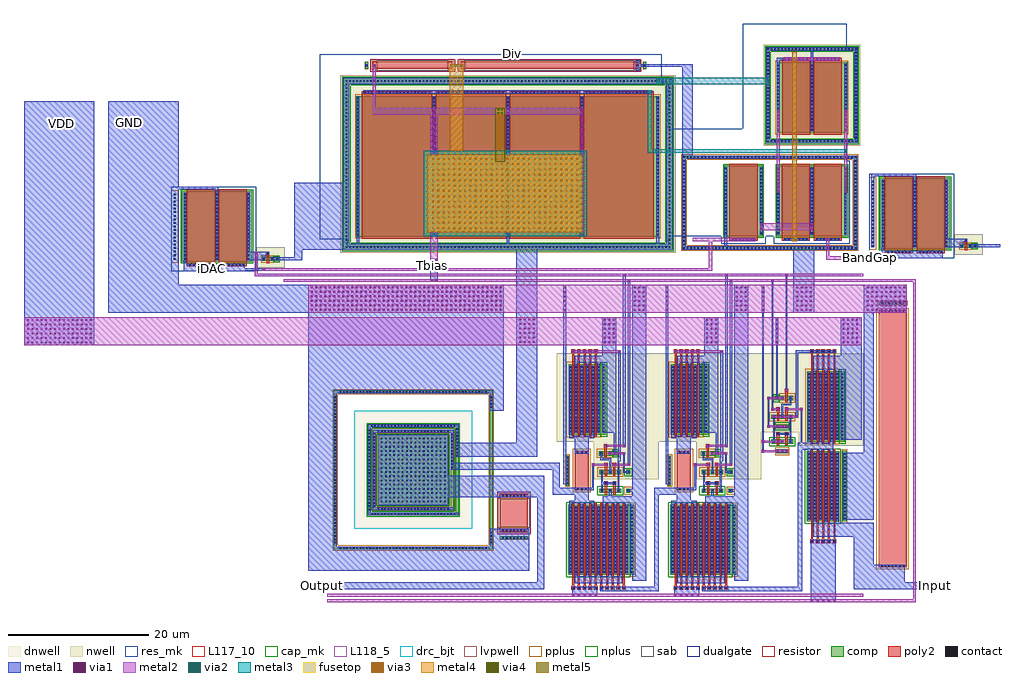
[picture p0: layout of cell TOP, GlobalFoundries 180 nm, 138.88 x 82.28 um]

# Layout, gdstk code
from math import pi, radians
import gdstk
lib = gdstk.Library(unit=1e-6, precision=1e-09)
def R(c, l, rs):  # rectangles x0, y0, x1, y1
    for r in rs: c.add(gdstk.rectangle(r[:2], r[2:], *l))
def A(c, l, x, y, w, h, nx, ny, dx, dy):  # array of equal rectangles
    R(c, l, [(x+i*dx, y+j*dy, x+i*dx+w, y+j*dy+h) for i in range(nx) for j in range(ny)])
def P(c, l, *ps):  # polygons
    for p in ps: c.add(gdstk.Polygon(p, *l))
dnwell = (12, 0)
nwell = (21, 0)
comp = (22, 0)
poly2 = (30, 0)
pplus = (31, 0)
nplus = (32, 0)
contact = (33, 0)
metal1 = (34, 0)
via1 = (35, 0)
metal2 = (36, 0)
via2 = (38, 0)
via3 = (40, 0)
via4 = (41, 0)
metal3 = (42, 0)
metal4 = (46, 0)
sab = (49, 0)
dualgate = (55, 0)
resistor = (62, 0)
fusetop = (75, 0)
metal5 = (81, 0)
res_mk = (110, 5)
cap_mk = (117, 5)
L117_10 = (117, 10)
L118_5 = (118, 5)
drc_bjt = (127, 5)
lvpwell = (204, 0)

ppolyf_s_resistor = lib.new_cell('ppolyf_s_resistor')
R(ppolyf_s_resistor, comp, [(-1.51,0,-1.15,4)])
R(ppolyf_s_resistor, poly2, [(-0.29,0,36.29,4)])
R(ppolyf_s_resistor, pplus, [(-0.59,-0.3,36.59,4.3), (-1.67,-0.16,-0.99,4.16)])
A(ppolyf_s_resistor, contact, -1.44, 0.36, 0.22, 0.22, 1, 7, 0, 0.51)
A(ppolyf_s_resistor, contact, -0.22, 0.36, 0.22, 0.22, 1, 7, 0, 0.51)
A(ppolyf_s_resistor, contact, 36, 0.36, 0.22, 0.22, 1, 7, 0, 0.51)
R(ppolyf_s_resistor, metal1, [(-1.52,0.28,-1.14,3.72), (-0.3,0.28,0.08,3.72), (35.92,0.28,36.3,3.72)])
R(ppolyf_s_resistor, res_mk, [(0,0,36,4)])

inputbuffer = lib.new_cell('InputBuffer')
R(inputbuffer, nwell, [(-16.13,7.7,-6.96,9.67), (-21.5,9.67,-6.96,20.87)])
R(inputbuffer, comp, [(-14.99,-3.04,-10.36,6.96), (-9.94,-3.04,-9.31,7), (-19.32,6.63,-17.62,7.23), (-20.02,8.01,-16.92,8.61), (-14.92,8.32,-9.62,18.32), (-19.32,10.18,-17.62,10.78), (-20.02,11.56,-16.92,12.16), (-19.53,14.21,-16.93,14.81)])
A(inputbuffer, poly2, -14.52, -6.14, 0.54, 0.54, 5, 2, 0.8, 27.02)
A(inputbuffer, poly2, -14.39, -5.6, 0.28, 12.87, 5, 2, 0.8, 13.61)
R(inputbuffer, poly2, [(-19.24,7.76,-18.94,9.1), (-18.03,7.76,-17.73,9.1), (-19.35,9.1,-18.81,9.64), (-18.14,9.1,-17.6,9.64), (-19.23,11.31,-18.93,12.65), (-18.03,11.31,-17.73,12.65), (-19.35,12.65,-18.81,13.19), (-18.15,12.65,-17.61,13.19), (-18.03,13.96,-17.73,15.3), (-18.14,15.3,-17.6,15.84)])
R(inputbuffer, pplus, [(-10.02,-3.31,-9.22,7.23), (-19.47,6.36,-17.47,7.5), (-15.24,7.94,-10.34,18.69), (-20.32,11.21,-16.62,12.51), (-18.93,13.86,-16.63,15.16)])
R(inputbuffer, nplus, [(-15.29,-3.39,-10.18,7.31), (-20.32,7.66,-16.62,8.96), (-10.34,8.005,-9.46,18.615), (-19.47,9.91,-17.47,11.05), (-19.73,13.94,-18.93,15.08)])
A(inputbuffer, contact, -14.36, -5.98, 0.22, 0.22, 5, 2, 0.8, 27.02)
A(inputbuffer, contact, -14.76, -2.74, 0.22, 0.22, 6, 19, 0.8, 0.51)
A(inputbuffer, contact, -9.7, -2.74, 0.22, 0.22, 1, 19, 0, 0.51)
A(inputbuffer, contact, -19.2, 6.82, 0.22, 0.22, 3, 2, 0.62, 3.55)
A(inputbuffer, contact, -14.76, 8.62, 0.22, 0.22, 6, 19, 0.8, 0.51)
A(inputbuffer, contact, -10.06, 8.62, 0.22, 0.22, 1, 19, 0, 0.51)
R(inputbuffer, contact, [(-19.77,8.2,-19.55,8.42), (-18.59,8.2,-18.37,8.42), (-17.4,8.2,-17.18,8.42), (-19.19,9.26,-18.97,9.48), (-17.98,9.26,-17.76,9.48), (-19.77,11.75,-19.55,11.97), (-18.59,11.75,-18.37,11.97), (-17.4,11.75,-17.18,11.97), (-19.19,12.81,-18.97,13.03), (-17.99,12.81,-17.77,13.03), (-19.34,14.4,-19.12,14.62), (-18.59,14.4,-18.37,14.62), (-17.4,14.4,-17.18,14.62), (-17.98,15.46,-17.76,15.68)])
A(inputbuffer, metal1, -14.44, -6.06, 0.38, 0.38, 5, 2, 0.8, 27.02)
A(inputbuffer, metal1, -14.04, -3.22, 0.38, 0.4, 3, 2, 1.6, 21.32)
A(inputbuffer, metal1, -14.84, -2.82, 0.38, 9.56, 6, 2, 0.8, 11.36)
A(inputbuffer, metal1, -19.28, 6.74, 0.38, 0.38, 3, 2, 0.62, 3.55)
A(inputbuffer, metal1, -14.84, 6.74, 0.38, 0.4, 3, 2, 1.6, 1.4)
R(inputbuffer, metal1, [(-14.44,-14.53,-10.86,-5.68), (-8.29,-12.7,-5.46,-3.22), (-8.29,-12.7,-1.06,-9.21), (-1.06,-12.7,4.54,-11.7), (-14.44,-6.06,-10.86,-5.68), (-14.04,-5.22,-5.46,-3.22), (-9.78,-2.82,-5.46,6.74), (-9.78,-2.82,-9.4,6.74), (-6.86,-2.82,-5.46,30.63), (-21.4,6.75,-21.02,7.13), (-21.33,6.8,-21.09,30.63), (-15.87,7.14,-15.63,13.04), (-15.87,7.14,-11.26,8.14), (-14.84,7.14,-11.26,8.14), (-21.4,8.12,-21.02,8.5), (-19.85,8.12,-19.47,8.5), (-18.67,8.12,-18.29,8.5), (-17.48,8.12,-17.1,8.5), (-19.78,8.19,-19.54,11.98), (-17.41,8.19,-17.17,11.98), (-10.14,8.54,-9.76,18.1), (-10.14,8.54,-7.14,26.03), (-19.27,9.18,-18.89,9.56), (-18.06,9.18,-17.68,9.56), (-19.2,9.25,-17.17,9.49), (-20.62,10.29,-20.24,10.67), (-20.55,10.34,-20.31,14.63), (-19.85,11.67,-19.47,12.05), (-18.67,11.67,-18.29,12.05), (-17.48,11.67,-17.1,12.05), (-16.59,11.67,-16.21,21.34), (-18.6,11.74,-18.36,13.71), (-20.04,12.73,-19.66,13.11), (-19.97,12.73,-19.73,31.41), (-19.27,12.73,-18.89,13.11), (-18.07,12.73,-17.69,13.11), (-15.94,12.73,-15.56,13.11), (-18.6,13.47,-17.17,13.71), (-17.41,13.47,-17.17,14.63), (-20.62,14.32,-20.24,14.7), (-19.42,14.32,-19.04,14.7), (-19.35,14.32,-19.11,26.03), (-18.67,14.32,-18.29,14.7), (-17.48,14.32,-17.1,14.7), (-18.06,15.38,-17.68,15.76), (-17.99,15.38,-17.75,32.19), (-14.04,18.5,-8.14,20.5), (-21.33,18.92,-21.09,30.63), (-16.59,20.96,-10.86,21.34), (-14.44,20.96,-10.86,21.34), (-19.42,22.03,-19.04,26.03), (-21.4,26.63,-21.02,30.63), (-6.86,26.63,-0.78,30.63), (-20.04,31.03,-19.66,31.41), (-18.06,31.81,-17.68,32.19)])
P(inputbuffer, metal1, [(-18.6,11.73),(-18.6,11.73),(-18.6,11.73),(-18.6,11.73)])
A(inputbuffer, via1, -14.38, -14.47, 0.26, 0.26, 5, 1, 0.8, 0)
A(inputbuffer, via1, -19.22, 6.8, 0.26, 0.26, 3, 2, 0.62, 3.55)
A(inputbuffer, via1, -19.36, 22.3, 0.26, 0.26, 1, 6, 0, 0.64)
A(inputbuffer, via1, -9.91, 22.3, 0.26, 0.26, 3, 6, 0.64, 0.64)
A(inputbuffer, via1, -7.98, 22.3, 0.26, 0.26, 1, 6, 0, 0.64)
A(inputbuffer, via1, -21.34, 26.9, 0.26, 0.26, 1, 6, 0, 0.64)
A(inputbuffer, via1, -6.46, 26.9, 0.26, 0.26, 3, 6, 0.64, 0.64)
A(inputbuffer, via1, -4.46, 26.9, 0.26, 0.26, 3, 6, 0.64, 0.64)
A(inputbuffer, via1, -2.55, 26.9, 0.26, 0.26, 3, 6, 0.64, 0.64)
R(inputbuffer, via1, [(-21.34,6.81,-21.08,7.07), (-21.34,8.18,-21.08,8.44), (-18.61,8.18,-18.35,8.44), (-20.56,10.35,-20.3,10.61), (-19.79,11.73,-19.53,11.99), (-16.53,11.73,-16.27,11.99), (-19.98,12.79,-19.72,13.05), (-19.21,12.79,-18.95,13.05), (-18.01,12.79,-17.75,13.05), (-15.88,12.79,-15.62,13.05), (-20.56,14.38,-20.3,14.64), (-19.36,14.38,-19.1,14.64), (-18.61,14.38,-18.35,14.64), (-18,15.44,-17.74,15.7), (-19.98,31.09,-19.72,31.35), (-18,31.87,-17.74,32.13)])
A(inputbuffer, metal2, -19.28, 6.74, 0.38, 0.38, 3, 2, 0.62, 3.55)
R(inputbuffer, metal2, [(-21.5,-14.53,-6.96,-14.15), (-21.5,-13.75,-6.96,-13.37), (-19.28,6.74,-17.66,7.12), (-21.4,6.75,-21.02,7.13), (-21.35,6.79,-17.71,7.07), (-21.4,8.12,-21.02,8.5), (-18.67,8.12,-18.29,8.5), (-21.35,8.17,-18.34,8.45), (-20.62,10.29,-20.24,10.67), (-19.28,10.29,-17.66,10.67), (-20.55,10.34,-17.71,10.62), (-19.85,11.67,-19.47,12.05), (-16.59,11.67,-16.21,12.05), (-19.8,11.72,-16.26,12), (-20.04,12.73,-19.66,13.11), (-19.27,12.73,-18.89,13.11), (-18.07,12.73,-17.69,13.11), (-15.94,12.73,-15.56,13.11), (-20.04,12.78,-18.92,13.06), (-17.99,12.78,-15.63,13.06), (-20.62,14.32,-20.24,14.7), (-19.42,14.32,-19.04,14.7), (-18.67,14.32,-18.29,14.7), (-20.57,14.37,-18.34,14.65), (-18.06,15.38,-17.68,15.76), (-21.5,22.03,-7.14,26.03), (-21.5,26.63,-0.78,30.63), (-21.5,31.03,-6.96,31.41), (-21.5,31.81,-6.96,32.19)])
r = gdstk.Reference(ppolyf_s_resistor, (-0.78,26.71), rotation=3*pi/2, x_reflection=True); r.repetition = gdstk.Repetition(1, 1, v1=(0,0), v2=(0,0)); inputbuffer.add(r)

gainstage = lib.new_cell('GainStage')
R(gainstage, nwell, [(-0.98,2.93,8.26,8.29), (-6.28,8.29,8.26,20.87)])
R(gainstage, comp, [(-4.65,-10.67,4.75,-0.67), (-0.21,1.03,2.89,1.63), (3.62,1.03,4.22,1.63), (-4.93,2.05,-4.57,6.32), (-0.21,3.68,2.89,4.28), (3.62,3.68,4.22,4.28), (-0.29,6.33,2.31,6.93), (-4.58,9.32,0.72,19.32)])
A(gainstage, poly2, -4.18, -12.77, 0.54, 0.54, 10, 1, 0.8, 0)
A(gainstage, poly2, -4.05, -12.23, 0.28, 11.87, 10, 1, 0.8, 0)
A(gainstage, poly2, -4.05, 9.01, 0.28, 11.87, 5, 1, 0.8, 0)
A(gainstage, poly2, -4.18, 20.88, 0.54, 0.54, 5, 1, 0.8, 0)
R(gainstage, poly2, [(0.59,0.78,0.89,2.12), (1.8,0.78,2.1,2.12), (-3.71,1.38,-1.71,6.98), (0.46,2.12,1,2.66), (1.67,2.12,2.21,2.66), (0.59,3.43,0.89,4.77), (1.78,3.43,2.08,4.77), (0.46,4.77,1,5.31), (1.65,4.77,2.19,5.31), (0.51,6.08,0.81,7.42), (0.38,7.42,0.92,7.96)])
R(gainstage, pplus, [(4.16,-10.94,4.96,-0.4), (3.35,0.76,4.49,1.9), (-4.01,1.08,-1.41,7.28), (-5.09,1.89,-4.41,6.48), (-0.51,3.33,3.19,4.63), (-0.59,5.98,1.71,7.28), (-4.9,8.94,0,19.69)])
R(gainstage, nplus, [(-4.95,-11.02,4.16,-0.32), (-0.51,0.68,3.19,1.98), (3.35,3.4,4.49,4.54), (1.71,6.06,2.51,7.2), (0,9.005,0.88,19.615)])
A(gainstage, contact, -4.02, -12.61, 0.22, 0.22, 10, 1, 0.8, 0)
A(gainstage, contact, -4.42, -10.37, 0.22, 0.22, 11, 19, 0.8, 0.51)
A(gainstage, contact, 4.3, -10.37, 0.22, 0.22, 1, 19, 0, 0.51)
A(gainstage, contact, -4.86, 2.29, 0.22, 0.22, 1, 8, 0, 0.51)
A(gainstage, contact, -4.42, 9.62, 0.22, 0.22, 6, 19, 0.8, 0.51)
A(gainstage, contact, 0.28, 9.62, 0.22, 0.22, 1, 19, 0, 0.51)
A(gainstage, contact, -4.02, 21.04, 0.22, 0.22, 5, 1, 0.8, 0)
R(gainstage, contact, [(0.04,1.22,0.26,1.44), (1.23,1.22,1.45,1.44), (2.41,1.22,2.63,1.44), (3.81,1.22,4.03,1.44), (-3.42,1.46,-3.2,1.68), (-2.82,1.46,-2.6,1.68), (-2.82,1.46,-2.6,1.68), (-2.22,1.46,-2,1.68), (0.62,2.28,0.84,2.5), (1.83,2.28,2.05,2.5), (0.04,3.87,0.26,4.09), (1.23,3.87,1.45,4.09), (2.41,3.87,2.63,4.09), (3.81,3.87,4.03,4.09), (0.62,4.93,0.84,5.15), (1.81,4.93,2.03,5.15), (-0.04,6.52,0.18,6.74), (1.15,6.52,1.37,6.74), (1.9,6.52,2.12,6.74), (-3.42,6.68,-3.2,6.9), (-2.82,6.68,-2.6,6.9), (-2.82,6.68,-2.6,6.9), (-2.22,6.68,-2,6.9), (0.54,7.58,0.76,7.8)])
A(gainstage, metal1, -4.1, -12.69, 0.38, 0.38, 10, 1, 0.8, 0)
A(gainstage, metal1, -3.7, -10.85, 0.38, 0.4, 5, 1, 1.6, 0)
A(gainstage, metal1, -4.5, -10.45, 0.38, 9.56, 11, 1, 0.8, 0)
A(gainstage, metal1, -4.5, -0.89, 0.38, 0.4, 6, 1, 1.6, 0)
A(gainstage, metal1, -4.5, 9.14, 0.38, 0.4, 3, 1, 1.6, 0)
A(gainstage, metal1, -4.5, 9.54, 0.38, 9.56, 6, 1, 0.8, 0)
A(gainstage, metal1, -3.7, 19.1, 0.38, 0.4, 3, 1, 1.6, 0)
A(gainstage, metal1, -4.1, 20.96, 0.38, 0.38, 5, 1, 0.8, 0)
R(gainstage, metal1, [(-4.1,-13.75,-0.52,-12.31), (-0.1,-12.99,8.26,-12.31), (-4.1,-12.69,-0.52,-12.31), (-0.1,-12.69,3.48,-12.31), (-3.7,-11.85,3.08,-10.85), (4.46,-11.47,6.46,30.63), (4.22,-10.45,4.6,-0.89), (4.22,-0.89,4.6,-0.49), (-4.5,-0.49,-0.92,-0.11), (-3.71,-0.49,-1.71,1.76), (0.3,-0.49,6.46,0.51), (1.15,0.07,1.53,1.52), (-6.28,0.76,-1.71,1.76), (-0.04,1.14,0.34,1.52), (1.15,1.14,1.53,1.52), (2.33,1.14,2.71,1.52), (3.73,1.14,4.11,1.52), (3.73,1.14,6.46,1.52), (0.03,1.21,0.27,4.1), (2.4,1.21,2.64,4.1), (-3.71,1.38,-0.98,1.76), (-1.22,1.38,-0.98,5.16), (2.4,1.52,2.64,3.79), (0.54,2.2,0.92,2.58), (1.75,2.2,2.13,2.58), (-5.32,2.21,-4.94,30.63), (-4.94,2.21,-4.56,6.16), (0.03,2.27,2.06,2.51), (-0.04,3.79,0.34,4.17), (1.15,3.79,1.53,4.17), (2.33,3.79,2.71,4.17), (3.73,3.79,4.11,4.17), (1.22,3.85,1.46,5.93), (2.4,3.85,2.64,5.93), (3.17,3.86,3.41,6.75), (3.17,3.86,4.04,4.1), (-1.29,4.84,-0.91,5.22), (0.54,4.85,0.92,5.23), (1.73,4.85,2.11,5.23), (3.8,4.85,4.18,31.41), (2.48,5.48,2.86,21.34), (-0.05,5.69,1.46,5.93), (-0.05,5.69,0.19,6.75), (-0.12,6.44,0.26,6.82), (1.07,6.44,1.45,6.82), (1.82,6.44,2.2,9.68), (1.82,6.44,2.2,6.82), (3.1,6.44,3.48,6.82), (-3.71,6.6,-1.71,9.14), (0.46,7.5,0.84,7.88), (3.14,7.5,3.52,32.19), (-4.5,8.76,-0.92,9.14), (0.2,9.54,2.2,26.03), (0.2,9.54,0.58,19.1), (-3.7,19.5,2.2,20.5), (-4.1,20.96,-0.52,21.34)])
P(gainstage, metal1, [(1.46,3.85),(1.46,3.85),(1.46,3.85),(1.46,3.85)])
A(gainstage, via1, -4.04, -13.69, 0.26, 0.26, 5, 2, 0.8, 34.71)
A(gainstage, via1, 0.43, 22.3, 0.26, 0.26, 3, 6, 0.64, 0.64)
A(gainstage, via1, -5.26, 26.9, 0.26, 0.26, 1, 6, 0, 0.64)
A(gainstage, via1, 4.69, 26.9, 0.26, 0.26, 3, 6, 0.64, 0.64)
R(gainstage, via1, [(-1.23,4.91,-0.97,5.17), (0.6,4.91,0.86,5.17), (1.79,4.91,2.05,5.17), (3.86,4.91,4.12,5.17), (1.13,6.5,1.39,6.76), (1.88,6.5,2.14,6.76), (3.16,6.5,3.42,6.76), (0.52,7.56,0.78,7.82), (3.2,7.56,3.46,7.82), (2.54,21.02,2.8,21.28), (3.86,31.09,4.12,31.35), (3.2,31.87,3.46,32.13)])
R(gainstage, metal2, [(-6.28,-14.53,8.26,-14.15), (-6.28,-13.75,8.26,-13.37), (-1.29,4.84,-0.91,5.22), (0.54,4.85,0.92,5.23), (1.73,4.85,2.11,5.23), (3.8,4.85,4.18,5.23), (-1.21,4.9,0.84,5.18), (1.78,4.9,4.13,5.18), (1.07,6.44,1.45,6.82), (1.82,6.44,2.2,6.82), (3.1,6.44,3.48,6.82), (1.12,6.49,3.43,6.77), (0.46,7.5,0.84,7.88), (3.14,7.5,3.52,7.88), (0.59,7.55,3.47,7.83), (-4.1,20.96,2.86,21.34), (-6.28,22.03,8.26,26.03), (-6.28,26.63,8.26,30.63), (-6.28,31.03,8.26,31.41), (-6.28,31.81,8.26,32.19)])
R(gainstage, res_mk, [(-3.71,1.68,-1.71,6.68), (-3.71,1.68,-1.71,6.68)])

npn_10p00x10p00_0 = lib.new_cell('npn_10p00x10p00_0')
R(npn_10p00x10p00_0, dnwell, [(-3.4,-3.4,13.4,13.4)])
R(npn_10p00x10p00_0, comp, [(0,0,10,10)])
P(npn_10p00x10p00_0, comp, [(-6.32,-6.32),(-6.32,16.32),(15.9,16.32),(15.9,15.9),(-5.9,15.9),(-5.9,-5.9),(15.9,-5.9),(15.9,16.32),(16.32,16.32),(16.32,-6.32)],
  [(-0.74,-0.74),(-0.74,10.74),(10.32,10.74),(10.32,10.32),(-0.32,10.32),(-0.32,-0.32),(10.32,-0.32),(10.32,10.74),(10.74,10.74),(10.74,-0.74)],
  [(-1.48,-1.48),(-1.48,11.48),(11.06,11.48),(11.06,11.06),(-1.06,11.06),(-1.06,-1.06),(11.06,-1.06),(11.06,11.48),(11.48,11.48),(11.48,-1.48)])
P(npn_10p00x10p00_0, pplus, [(-6.48,-6.48),(-6.48,16.48),(15.74,16.48),(15.74,15.74),(-5.74,15.74),(-5.74,-5.74),(15.74,-5.74),(15.74,16.48),(16.48,16.48),(16.48,-6.48)],
  [(-0.9,-0.9),(-0.9,10.9),(10.16,10.9),(10.16,10.16),(-0.16,10.16),(-0.16,-0.16),(10.16,-0.16),(10.16,10.9),(10.9,10.9),(10.9,-0.9)])
R(npn_10p00x10p00_0, nplus, [(-0.16,-0.16,10.16,10.16)])
P(npn_10p00x10p00_0, nplus, [(-1.64,-1.64),(-1.64,11.64),(10.9,11.64),(10.9,10.9),(-0.9,10.9),(-0.9,-0.9),(10.9,-0.9),(10.9,11.64),(11.64,11.64),(11.64,-1.64)])
A(npn_10p00x10p00_0, contact, -5.45, -6.22, 0.22, 0.22, 4, 1, 0.47, 0)
A(npn_10p00x10p00_0, contact, 13.82, -6.22, 0.22, 0.22, 4, 1, 0.47, 0)
A(npn_10p00x10p00_0, contact, -6.22, -5.45, 0.22, 0.22, 1, 45, 0, 0.47)
A(npn_10p00x10p00_0, contact, 16, -5.45, 0.22, 0.22, 1, 45, 0, 0.47)
A(npn_10p00x10p00_0, contact, -1.38, -0.985, 0.22, 0.22, 1, 26, 0, 0.47)
A(npn_10p00x10p00_0, contact, 11.16, -0.985, 0.22, 0.22, 1, 26, 0, 0.47)
A(npn_10p00x10p00_0, contact, -0.64, -0.045, 0.22, 0.22, 1, 22, 0, 0.47)
A(npn_10p00x10p00_0, contact, 10.42, -0.045, 0.22, 0.22, 1, 22, 0, 0.47)
A(npn_10p00x10p00_0, contact, 0.39, 0.39, 0.22, 0.22, 16, 16, 0.6, 0.6)
A(npn_10p00x10p00_0, contact, -0.28, 10.42, 0.22, 0.22, 23, 1, 0.47, 0)
A(npn_10p00x10p00_0, contact, -0.75, 11.16, 0.22, 0.22, 25, 1, 0.47, 0)
A(npn_10p00x10p00_0, contact, -5.45, 16, 0.22, 0.22, 45, 1, 0.47, 0)
R(npn_10p00x10p00_0, metal1, [(-6.32,-6.32,-5.9,16.32), (-6.32,-6.32,-3.4,-5.9), (13.4,-6.32,16.32,-5.9), (15.9,-6.32,16.32,16.32), (-1.48,-1.48,-1.06,11.48), (11.06,-1.48,11.48,11.48), (-0.74,-0.74,-0.32,10.74), (10.32,-0.74,10.74,10.74), (0,0,10,10), (0,0,10,10), (-0.74,10.32,10.74,10.74), (-1.48,11.06,11.48,11.48), (-6.32,15.9,16.32,16.32)])
P(npn_10p00x10p00_0, metal1, [(-6.32,-6.32),(-6.32,16.32),(15.9,16.32),(15.9,15.9),(-5.9,15.9),(-5.9,-5.9),(-3.4,-5.9),(-3.4,-6.32)],
  [(13.4,-6.32),(13.4,-5.9),(15.9,-5.9),(15.9,16.32),(16.32,16.32),(16.32,-6.32)],
  [(-0.74,-0.74),(-0.74,10.74),(10.74,10.74),(10.74,-0.74),(10.32,-0.74),(10.32,10.32),(-0.32,10.32),(-0.32,-0.74)],
  [(-1.48,-1.48),(-1.48,11.48),(11.48,11.48),(11.48,-1.48),(11.06,-1.48),(11.06,11.06),(-1.06,11.06),(-1.06,-1.48)])
R(npn_10p00x10p00_0, L118_5, [(0,0,10,10)])
R(npn_10p00x10p00_0, drc_bjt, [(-3.4,-3.4,13.4,13.4)])
R(npn_10p00x10p00_0, lvpwell, [(-0.9,-0.9,10.9,10.9)])
npn_10p00x10p00_0.add(gdstk.Label('E', (5.005,4.995), layer=34, texttype=0))
npn_10p00x10p00_0.add(gdstk.Label('B', (-0.515,-0.485), layer=34, texttype=0))
npn_10p00x10p00_0.add(gdstk.Label('B', (10.525,-0.495), layer=34, texttype=0))
npn_10p00x10p00_0.add(gdstk.Label('B', (10.55,10.54), layer=34, texttype=0))
npn_10p00x10p00_0.add(gdstk.Label('C', (-1.255,11.26), layer=34, texttype=0))
npn_10p00x10p00_0.add(gdstk.Label('C', (11.27,-1.235), layer=34, texttype=0))
npn_10p00x10p00_0.add(gdstk.Label('C', (11.285,11.285), layer=34, texttype=0))
npn_10p00x10p00_0.add(gdstk.Label('S', (16.105,16.105), layer=34, texttype=0))
npn_10p00x10p00_0.add(gdstk.Label('S', (16.07,-6.095), layer=34, texttype=0))
npn_10p00x10p00_0.add(gdstk.Label('S', (16.07,-6.095), layer=34, texttype=0))
npn_10p00x10p00_0.add(gdstk.Label('S', (-6.095,-6.055), layer=34, texttype=0))
npn_10p00x10p00_0.add(gdstk.Label('S', (-6.095,-6.055), layer=34, texttype=0))

npn_10p00x10p00 = lib.new_cell('npn_10p00x10p00')
npn_10p00x10p00.add(gdstk.Reference(npn_10p00x10p00_0, (6.6,6.6)))
npn_10p00x10p00.add(gdstk.Label('I1_default_E', (6.625,6.625), layer=34, texttype=10))
npn_10p00x10p00.add(gdstk.Label('I1_default_S', (0.305,22.525), layer=34, texttype=10))
npn_10p00x10p00.add(gdstk.Label('I1_default_S', (22.525,0.305), layer=34, texttype=10))
npn_10p00x10p00.add(gdstk.Label('I1_default_S', (20.025,0.305), layer=34, texttype=10))
npn_10p00x10p00.add(gdstk.Label('I1_default_S', (0.305,0.305), layer=34, texttype=10))
npn_10p00x10p00.add(gdstk.Label('I1_default_S', (0.305,0.305), layer=34, texttype=10))
npn_10p00x10p00.add(gdstk.Label('I1_default_C', (5.145,5.145), layer=34, texttype=10))
npn_10p00x10p00.add(gdstk.Label('I1_default_C', (17.685,5.145), layer=34, texttype=10))
npn_10p00x10p00.add(gdstk.Label('I1_default_C', (5.145,17.685), layer=34, texttype=10))
npn_10p00x10p00.add(gdstk.Label('I1_default_B', (5.885,5.885), layer=34, texttype=10))
npn_10p00x10p00.add(gdstk.Label('I1_default_B', (16.945,5.885), layer=34, texttype=10))
npn_10p00x10p00.add(gdstk.Label('I1_default_B', (5.885,16.945), layer=34, texttype=10))

npn_bjt = lib.new_cell('npn_bjt')
npn_bjt.add(gdstk.Reference(npn_10p00x10p00, (0,0)))

ppolyf_u_high_rs_resisto = lib.new_cell('ppolyf_u_high_Rs_resistor')
R(ppolyf_u_high_rs_resisto, comp, [(-1.76,0,-1.34,4)])
R(ppolyf_u_high_rs_resisto, poly2, [(-0.64,0,4.64,4)])
R(ppolyf_u_high_rs_resisto, pplus, [(-0.82,-0.18,0,4.18), (4,-0.18,4.82,4.18), (-1.78,-0.02,-1.32,4.02)])
A(ppolyf_u_high_rs_resisto, contact, -1.66, 0.36, 0.22, 0.22, 1, 7, 0, 0.51)
A(ppolyf_u_high_rs_resisto, contact, -0.57, 0.36, 0.22, 0.22, 1, 7, 0, 0.51)
A(ppolyf_u_high_rs_resisto, contact, 4.35, 0.36, 0.22, 0.22, 1, 7, 0, 0.51)
R(ppolyf_u_high_rs_resisto, metal1, [(-1.74,0.28,-1.36,3.72), (-0.65,0.28,-0.27,3.72), (4.27,0.28,4.65,3.72)])
R(ppolyf_u_high_rs_resisto, sab, [(-0.1,-0.28,4.1,4.28)])
R(ppolyf_u_high_rs_resisto, resistor, [(-1.04,-0.4,5.04,4.4)])
R(ppolyf_u_high_rs_resisto, res_mk, [(0,0,4,4)])

outputbuffer = lib.new_cell('OutputBuffer')
A(outputbuffer, contact, 2.68, 15.28, 0.22, 0.22, 1, 11, 0, 0.47)
A(outputbuffer, contact, 3.42, 16.96, 0.22, 0.22, 1, 9, 0, 0.47)
R(outputbuffer, metal1, [(-17.87,-1.95,15.94,-0.95), (14.94,-1.95,15.94,14.17), (-17.64,0.71,13.77,3.71), (-17.64,3.71,-13.64,41.38), (8.16,3.71,13.77,6.63), (1,11.17,15.94,14.17), (2.58,15.02,15.94,16.02), (2.58,15.03,3,20.77), (3.32,16.88,14.94,18.88), (3.33,16.88,3.74,21.51), (11.94,16.88,14.94,36.78), (8.16,23.43,10.16,41.38), (-14.06,25.94,8.58,41.38)])
A(outputbuffer, via1, 12.36, 33.1, 0.26, 0.26, 4, 6, 0.64, 0.64)
A(outputbuffer, via1, -17.3, 37.7, 0.26, 0.26, 43, 6, 0.64, 0.64)
R(outputbuffer, metal2, [(-15,-3.78,15.94,-3.4), (-15,-3,15.94,-2.62), (-17.64,32.78,15.94,36.78), (-17.64,37.38,15.94,41.38), (-15,41.78,15.94,42.16), (-15,42.56,15.94,42.94)])
r = gdstk.Reference(npn_bjt, (8.86,26.63), rotation=3*pi/2, x_reflection=True); r.repetition = gdstk.Repetition(1, 1, v1=(0,0), v2=(0,0)); outputbuffer.add(r)
r = gdstk.Reference(ppolyf_u_high_rs_resisto, (13.59,6.9), rotation=pi/2); r.repetition = gdstk.Repetition(1, 1, v1=(0,0), v2=(0,0)); outputbuffer.add(r)

pfet = lib.new_cell('pfet')
R(pfet, nwell, [(-1.24,-0.91,43.42,21.29)])
R(pfet, comp, [(-0.46,0,42.64,20)])
A(pfet, poly2, 0.31, -0.3, 10, 20.98, 4, 1, 10.52, 0)
R(pfet, pplus, [(-0.63,-0.24,42.81,20.24)])
A(pfet, contact, -0.34, 0.2, 0.22, 0.22, 1, 39, 0, 0.51)
A(pfet, contact, 10.46, 0.2, 0.22, 0.22, 3, 39, 10.52, 0.51)
A(pfet, contact, 42.3, 0.2, 0.22, 0.22, 1, 39, 0, 0.51)
A(pfet, contact, 0.61, 20.38, 0.22, 0.22, 19, 1, 0.51, 0)
A(pfet, contact, 11.13, 20.38, 0.22, 0.22, 19, 1, 0.51, 0)
A(pfet, contact, 21.65, 20.38, 0.22, 0.22, 19, 1, 0.51, 0)
A(pfet, contact, 32.17, 20.38, 0.22, 0.22, 19, 1, 0.51, 0)
A(pfet, metal1, 10.38, 0.12, 0.38, 19.76, 3, 1, 10.52, 0)
A(pfet, metal1, 0.53, 20.3, 9.56, 0.38, 4, 1, 10.52, 0)
R(pfet, metal1, [(-0.42,0.12,-0.04,19.88), (42.22,0.12,42.6,19.88)])
R(pfet, dualgate, [(-1.74,-1.41,43.92,21.79)])

nfet_3 = lib.new_cell('nfet$3')
R(nfet_3, comp, [(-0.42,0,5.04,10)])
R(nfet_3, poly2, [(0.31,-0.66,4.31,10.3)])
R(nfet_3, nplus, [(-0.59,-0.24,5.21,10.24)])
A(nfet_3, contact, 0.67, -0.59, 0.22, 0.22, 7, 1, 0.51, 0)
A(nfet_3, contact, -0.32, 0.3, 0.22, 0.22, 1, 19, 0, 0.51)
A(nfet_3, contact, 4.72, 0.3, 0.22, 0.22, 1, 19, 0, 0.51)
R(nfet_3, metal1, [(0.59,-0.67,4.03,-0.29), (-0.4,0.22,-0.02,9.78), (4.64,0.22,5.02,9.78)])
R(nfet_3, dualgate, [(-0.84,-1.08,5.46,10.71)])

nfet = lib.new_cell('nfet')
R(nfet, comp, [(-0.42,0,9.56,10)])
R(nfet, poly2, [(0.31,-0.66,4.31,10.3), (4.83,-0.66,8.83,10.3)])
R(nfet, nplus, [(-0.59,-0.24,9.73,10.24)])
A(nfet, contact, 0.67, -0.59, 0.22, 0.22, 7, 1, 0.51, 0)
A(nfet, contact, 5.19, -0.59, 0.22, 0.22, 7, 1, 0.51, 0)
A(nfet, contact, -0.32, 0.3, 0.22, 0.22, 3, 19, 4.78, 0.51)
A(nfet, metal1, -0.4, 0.22, 0.38, 9.56, 3, 1, 4.78, 0)
R(nfet, metal1, [(0.59,-0.67,4.03,-0.29), (5.11,-0.67,8.55,-0.29)])
R(nfet, dualgate, [(-0.84,-1.08,9.98,10.71)])

pfet_1 = lib.new_cell('pfet$1')
R(pfet_1, nwell, [(-1.24,-0.91,10.38,11.29)])
R(pfet_1, comp, [(-0.46,0,9.6,10)])
R(pfet_1, poly2, [(0.31,-0.3,4.31,10.68), (4.83,-0.3,8.83,10.68)])
R(pfet_1, pplus, [(-0.63,-0.24,9.77,10.24)])
A(pfet_1, contact, -0.34, 0.3, 0.22, 0.22, 3, 19, 4.8, 0.51)
A(pfet_1, contact, 0.67, 10.38, 0.22, 0.22, 7, 1, 0.51, 0)
A(pfet_1, contact, 5.19, 10.38, 0.22, 0.22, 7, 1, 0.51, 0)
A(pfet_1, metal1, -0.42, 0.22, 0.38, 9.56, 3, 1, 4.8, 0)
R(pfet_1, metal1, [(0.59,10.3,4.03,10.68), (5.11,10.3,8.55,10.68)])
R(pfet_1, dualgate, [(-1.74,-1.41,10.88,11.79)])

c_ppolyf_u_high_rs_resisto = lib.new_cell('ppolyf_u_high_Rs_resistor$1')
R(c_ppolyf_u_high_rs_resisto, comp, [(-1.76,0,-1.34,1)])
R(c_ppolyf_u_high_rs_resisto, poly2, [(-0.64,0,10.64,1)])
R(c_ppolyf_u_high_rs_resisto, pplus, [(-0.82,-0.18,0,1.18), (10,-0.18,10.82,1.18), (-1.78,-0.02,-1.32,1.02)])
R(c_ppolyf_u_high_rs_resisto, contact, [(-1.66,0.39,-1.44,0.61), (-0.57,0.39,-0.35,0.61), (10.35,0.39,10.57,0.61)])
R(c_ppolyf_u_high_rs_resisto, metal1, [(-1.74,0.31,-1.36,0.69), (-0.65,0.31,-0.27,0.69), (10.27,0.31,10.65,0.69)])
R(c_ppolyf_u_high_rs_resisto, sab, [(-0.1,-0.28,10.1,1.28)])
R(c_ppolyf_u_high_rs_resisto, resistor, [(-1.04,-0.4,11.04,1.4)])
R(c_ppolyf_u_high_rs_resisto, res_mk, [(0,0,10,1)])

c_ppolyf_u_high_rs_resisto_ = lib.new_cell('ppolyf_u_high_Rs_resistor$2')
R(c_ppolyf_u_high_rs_resisto_, comp, [(-1.76,0,-1.34,1)])
R(c_ppolyf_u_high_rs_resisto_, poly2, [(-0.64,0,24.64,1)])
R(c_ppolyf_u_high_rs_resisto_, pplus, [(-0.82,-0.18,0,1.18), (24,-0.18,24.82,1.18), (-1.78,-0.02,-1.32,1.02)])
R(c_ppolyf_u_high_rs_resisto_, contact, [(-1.66,0.39,-1.44,0.61), (-0.57,0.39,-0.35,0.61), (24.35,0.39,24.57,0.61)])
R(c_ppolyf_u_high_rs_resisto_, metal1, [(-1.74,0.31,-1.36,0.69), (-0.65,0.31,-0.27,0.69), (24.27,0.31,24.65,0.69)])
R(c_ppolyf_u_high_rs_resisto_, sab, [(-0.1,-0.28,24.1,1.28)])
R(c_ppolyf_u_high_rs_resisto_, resistor, [(-1.04,-0.4,25.04,1.4)])
R(c_ppolyf_u_high_rs_resisto_, res_mk, [(0,0,24,1)])

pfet_2 = lib.new_cell('pfet$2')
R(pfet_2, nwell, [(-1.32,-0.99,2.73,1.97)])
R(pfet_2, comp, [(-0.46,0,1.87,0.6)])
P(pfet_2, poly2, [(0.19,-0.3),(0.19,0.9),(0.15,0.9),(0.15,1.28),(0.53,1.28),(0.53,0.9),(0.49,0.9),(0.49,-0.3)])
R(pfet_2, pplus, [(-0.63,-0.24,1.14,0.84)])
R(pfet_2, nplus, [(1.14,-0.17,2.04,0.77)])
R(pfet_2, contact, [(-0.34,0.19,-0.12,0.41), (0.8,0.19,1.02,0.41), (1.53,0.19,1.75,0.41), (0.23,0.98,0.45,1.2)])
R(pfet_2, metal1, [(-0.42,0.11,-0.04,0.49), (0.72,0.11,1.1,0.49), (1.45,0.11,1.83,0.49), (0.15,0.9,0.53,1.28)])

cap_mim = lib.new_cell('cap_mim')
A(cap_mim, via3, 0.61, 0.43, 0.26, 0.26, 28, 14, 0.76, 0.76)
R(cap_mim, metal3, [(-0.6,-0.6,22.6,11.6)])
R(cap_mim, metal4, [(0,0,22,11)])
R(cap_mim, fusetop, [(0,0,22,11)])
R(cap_mim, cap_mk, [(-0.6,-0.6,22.6,11.6)])
R(cap_mim, L117_10, [(0,0,22,0.1)])

reference = lib.new_cell('Reference')
R(reference, nwell, [(0.5,0.5,48.2,25.78), (60.72,15.73,74.5,30.13)])
R(reference, comp, [(77.26,1.08,87.24,11.08)])
P(reference, comp, [(0.9,0.9),(0.9,24.48),(1.8,24.48),(1.8,1.8),(46.9,1.8),(46.9,24.48),(0.9,24.48),(0.9,25.38),(47.8,25.38),(47.8,0.9)],
  [(49.16,0.94),(49.16,13.87),(49.62,13.87),(49.62,1.4),(73.58,1.4),(73.58,13.87),(49.16,13.87),(49.16,14.33),(74.04,14.33),(74.04,0.94)],
  [(61.12,16.13),(61.12,29.27),(61.58,29.27),(61.58,16.59),(73.64,16.59),(73.64,29.27),(61.12,29.27),(61.12,29.73),(74.1,29.73),(74.1,16.13)])
R(reference, poly2, [(77.99,0.42,81.99,11.38), (82.51,0.42,86.51,11.38)])
R(reference, pplus, [(75.78,0.91,76.76,11.25)])
P(reference, pplus, [(49,0.78),(49,13.71),(49.78,13.71),(49.78,1.56),(73.42,1.56),(73.42,13.71),(49,13.71),(49,14.49),(74.2,14.49),(74.2,0.78)])
R(reference, nplus, [(77.09,0.84,87.41,11.32)])
P(reference, nplus, [(0.74,0.74),(0.74,24.32),(1.96,24.32),(1.96,1.96),(46.74,1.96),(46.74,24.32),(0.74,24.32),(0.74,25.54),(47.96,25.54),(47.96,0.74)],
  [(60.96,15.97),(60.96,29.11),(61.74,29.11),(61.74,16.75),(73.48,16.75),(73.48,29.11),(60.96,29.11),(60.96,29.89),(74.26,29.89),(74.26,15.97)])
A(reference, contact, 78.35, 0.49, 0.22, 0.22, 5, 1, 0.51, 0)
A(reference, contact, 82.87, 0.49, 0.22, 0.22, 5, 1, 0.51, 0)
A(reference, contact, 49.28, 1.06, 0.22, 0.22, 3, 2, 0.51, 12.93)
A(reference, contact, 50.805, 1.06, 0.22, 0.22, 3, 2, 0.51, 12.93)
A(reference, contact, 52.33, 1.06, 0.22, 0.22, 5, 2, 0.51, 12.93)
A(reference, contact, 54.875, 1.06, 0.22, 0.22, 3, 2, 0.51, 12.93)
A(reference, contact, 56.4, 1.06, 0.22, 0.22, 5, 2, 0.51, 12.93)
A(reference, contact, 58.945, 1.06, 0.22, 0.22, 3, 2, 0.51, 12.93)
A(reference, contact, 60.47, 1.06, 0.22, 0.22, 5, 2, 0.51, 12.93)
A(reference, contact, 63.015, 1.06, 0.22, 0.22, 3, 2, 0.51, 12.93)
A(reference, contact, 64.54, 1.06, 0.22, 0.22, 5, 2, 0.51, 12.93)
A(reference, contact, 67.085, 1.06, 0.22, 0.22, 3, 2, 0.51, 12.93)
A(reference, contact, 68.61, 1.06, 0.22, 0.22, 5, 2, 0.51, 12.93)
A(reference, contact, 71.155, 1.06, 0.22, 0.22, 4, 2, 0.51, 12.93)
A(reference, contact, 1.24, 1.24, 0.22, 0.22, 93, 2, 0.5, 23.58)
A(reference, contact, 76.15, 1.38, 0.22, 0.22, 1, 19, 0, 0.51)
A(reference, contact, 77.62, 1.38, 0.22, 0.22, 3, 19, 4.52, 0.51)
A(reference, contact, 1.24, 2.245, 0.22, 0.22, 1, 3, 0, 0.5)
A(reference, contact, 47.24, 2.245, 0.22, 0.22, 1, 3, 0, 0.5)
A(reference, contact, 1.24, 3.75, 0.22, 0.22, 1, 3, 0, 0.5)
A(reference, contact, 47.24, 3.75, 0.22, 0.22, 1, 3, 0, 0.5)
A(reference, contact, 49.28, 5.2, 0.22, 0.22, 1, 3, 0, 0.515)
A(reference, contact, 73.7, 5.2, 0.22, 0.22, 1, 3, 0, 0.515)
A(reference, contact, 1.24, 5.255, 0.22, 0.22, 1, 3, 0, 0.5)
A(reference, contact, 47.24, 5.255, 0.22, 0.22, 1, 3, 0, 0.5)
A(reference, contact, 1.24, 6.76, 0.22, 0.22, 1, 3, 0, 0.5)
A(reference, contact, 47.24, 6.76, 0.22, 0.22, 1, 3, 0, 0.5)
A(reference, contact, 1.24, 8.265, 0.22, 0.22, 1, 3, 0, 0.5)
A(reference, contact, 47.24, 8.265, 0.22, 0.22, 1, 3, 0, 0.5)
A(reference, contact, 49.28, 8.82, 0.22, 0.22, 1, 3, 0, 0.515)
A(reference, contact, 73.7, 8.82, 0.22, 0.22, 1, 3, 0, 0.515)
A(reference, contact, 1.24, 9.77, 0.22, 0.22, 1, 3, 0, 0.5)
A(reference, contact, 47.24, 9.77, 0.22, 0.22, 1, 3, 0, 0.5)
A(reference, contact, 1.24, 11.275, 0.22, 0.22, 1, 3, 0, 0.5)
A(reference, contact, 47.24, 11.275, 0.22, 0.22, 1, 3, 0, 0.5)
A(reference, contact, 1.24, 13.785, 0.22, 0.22, 1, 3, 0, 0.5)
A(reference, contact, 47.24, 13.785, 0.22, 0.22, 1, 3, 0, 0.5)
A(reference, contact, 1.24, 15.29, 0.22, 0.22, 1, 3, 0, 0.5)
A(reference, contact, 47.24, 15.29, 0.22, 0.22, 1, 3, 0, 0.5)
A(reference, contact, 61.24, 16.25, 0.22, 0.22, 4, 2, 0.5, 13.14)
A(reference, contact, 63.245, 16.25, 0.22, 0.22, 6, 2, 0.5, 13.14)
A(reference, contact, 66.25, 16.25, 0.22, 0.22, 6, 2, 0.5, 13.14)
A(reference, contact, 69.255, 16.25, 0.22, 0.22, 6, 2, 0.5, 13.14)
A(reference, contact, 72.26, 16.25, 0.22, 0.22, 4, 2, 0.5, 13.14)
A(reference, contact, 61.24, 16.755, 0.22, 0.22, 1, 6, 0, 0.505)
A(reference, contact, 73.76, 16.755, 0.22, 0.22, 1, 6, 0, 0.505)
A(reference, contact, 1.24, 16.795, 0.22, 0.22, 1, 3, 0, 0.5)
A(reference, contact, 47.24, 16.795, 0.22, 0.22, 1, 3, 0, 0.5)
A(reference, contact, 1.24, 18.3, 0.22, 0.22, 1, 3, 0, 0.5)
A(reference, contact, 47.24, 18.3, 0.22, 0.22, 1, 3, 0, 0.5)
A(reference, contact, 61.24, 19.79, 0.22, 0.22, 1, 13, 0, 0.505)
A(reference, contact, 73.76, 19.79, 0.22, 0.22, 1, 13, 0, 0.505)
A(reference, contact, 1.24, 19.805, 0.22, 0.22, 1, 3, 0, 0.5)
A(reference, contact, 47.24, 19.805, 0.22, 0.22, 1, 3, 0, 0.5)
A(reference, contact, 1.24, 21.31, 0.22, 0.22, 1, 3, 0, 0.5)
A(reference, contact, 47.24, 21.31, 0.22, 0.22, 1, 3, 0, 0.5)
A(reference, contact, 1.24, 22.815, 0.22, 0.22, 1, 3, 0, 0.5)
A(reference, contact, 47.24, 22.815, 0.22, 0.22, 1, 3, 0, 0.5)
A(reference, contact, 61.24, 26.36, 0.22, 0.22, 1, 6, 0, 0.505)
A(reference, contact, 73.76, 26.36, 0.22, 0.22, 1, 6, 0, 0.505)
R(reference, contact, [(80.39,0.49,80.61,0.71), (80.9,0.49,81.12,0.71), (80.9,0.49,81.12,0.71), (81.41,0.49,81.63,0.71), (81.41,0.49,81.63,0.71), (84.91,0.49,85.13,0.71), (85.42,0.49,85.64,0.71), (85.42,0.49,85.64,0.71), (85.93,0.49,86.15,0.71), (85.93,0.49,86.15,0.71), (73.19,1.06,73.41,1.28), (73.7,1.06,73.92,1.28), (49.28,1.575,49.5,1.795), (73.7,1.575,73.92,1.795), (1.24,1.74,1.46,1.96), (47.24,1.74,47.46,1.96), (49.28,2.095,49.5,2.315), (73.7,2.095,73.92,2.315), (49.28,2.61,49.5,2.83), (73.7,2.61,73.92,2.83), (49.28,3.13,49.5,3.35), (73.7,3.13,73.92,3.35), (49.28,3.645,49.5,3.865), (73.7,3.645,73.92,3.865), (49.28,4.165,49.5,4.385), (73.7,4.165,73.92,4.385), (49.28,4.68,49.5,4.9), (73.7,4.68,73.92,4.9), (49.28,6.75,49.5,6.97), (73.7,6.75,73.92,6.97), (49.28,7.265,49.5,7.485), (73.7,7.265,73.92,7.485), (49.28,7.785,49.5,8.005), (73.7,7.785,73.92,8.005), (49.28,8.3,49.5,8.52), (73.7,8.3,73.92,8.52), (49.28,10.37,49.5,10.59), (73.7,10.37,73.92,10.59), (49.28,10.885,49.5,11.105), (73.7,10.885,73.92,11.105), (49.28,11.405,49.5,11.625), (73.7,11.405,73.92,11.625), (49.28,11.92,49.5,12.14), (73.7,11.92,73.92,12.14), (49.28,12.44,49.5,12.66), (73.7,12.44,73.92,12.66), (1.24,12.78,1.46,13), (47.24,12.78,47.46,13), (49.28,12.955,49.5,13.175), (73.7,12.955,73.92,13.175), (1.24,13.28,1.46,13.5), (47.24,13.28,47.46,13.5), (49.28,13.475,49.5,13.695), (73.7,13.475,73.92,13.695), (73.19,13.99,73.41,14.21), (73.7,13.99,73.92,14.21), (1.24,24.32,1.46,24.54), (47.24,24.32,47.46,24.54)])
A(reference, metal1, 2.84, 0.9, 0.38, 3.02, 3, 1, 21.32, 0)
A(reference, metal1, 77.54, 1.3, 0.38, 9.56, 3, 1, 4.52, 0)
R(reference, metal1, [(77.54,-0.25,86.23,0.79), (77.54,-0.25,77.92,1.3), (78.27,0.41,81.71,0.79), (81.71,0.41,82.79,0.79), (82.79,0.41,86.23,0.79), (55.16,0.92,55.54,4.07), (76.07,1.3,76.45,10.86), (86.58,1.3,89.15,2.47), (89.91,1.3,94.37,1.68), (90.29,1.3,90.64,1.68), (89.15,2.09,89.72,2.47), (76.07,10.86,76.45,11.76), (82.06,10.86,82.44,11.76), (76.07,11.38,82.44,11.76), (49.16,14.33,50.67,27.34), (3.79,23.1,44.91,23.64), (67.42,26.37,67.8,29.73), (42.52,26.39,43.2,27.9), (16.06,26.96,17.98,27.34), (42.52,26.96,49.16,27.34), (62.62,27.37,63,28.27), (62.62,27.89,63.64,28.27)])
P(reference, metal1, [(49.16,0.94),(49.16,13.87),(49.62,13.87),(49.62,1.4),(73.58,1.4),(73.58,13.87),(49.16,13.87),(49.16,14.33),(74.04,14.33),(74.04,0.94)],
  [(0.9,0.9),(0.9,24.48),(1.8,24.48),(1.8,1.8),(46.9,1.8),(46.9,24.48),(0.9,24.48),(0.9,25.38),(47.8,25.38),(47.8,0.9)],
  [(61.12,16.13),(61.12,29.27),(61.58,29.27),(61.58,16.59),(73.64,16.59),(73.64,29.27),(61.12,29.27),(61.12,29.73),(74.1,29.73),(74.1,16.13)])
A(reference, via1, 56.21, 2.26, 0.26, 0.26, 7, 1, 0.51, 0)
A(reference, via1, 13.7, 3.47, 0.26, 0.26, 1, 34, 0, 0.52)
A(reference, via1, 34.74, 3.47, 0.26, 0.26, 1, 34, 0, 0.52)
A(reference, via1, 62.68, 9.16, 0.26, 0.26, 1, 7, 0, 0.52)
A(reference, via1, 72.24, 9.16, 0.26, 0.26, 1, 7, 0, 0.52)
A(reference, via1, 62.68, 17.88, 0.26, 0.26, 1, 6, 0, 0.52)
A(reference, via1, 72.28, 17.88, 0.26, 0.26, 1, 6, 0, 0.52)
A(reference, via1, 45.735, 24.54, 0.26, 0.26, 4, 2, 0.52, 0.52)
A(reference, via1, 16.12, 27.02, 0.26, 0.26, 3, 1, 0.77, 0)
A(reference, via1, 63.66, 27.95, 0.26, 0.26, 7, 1, 0.52, 0)
A(reference, via1, 68.18, 27.95, 0.26, 0.26, 7, 1, 0.52, 0)
R(reference, via1, [(65.01,2.26,65.27,2.52), (69.72,2.26,69.98,2.52), (60.26,3.8,60.52,4.06), (67.46,3.8,67.72,4.06), (60.26,4.32,60.52,4.58), (67.46,4.32,67.72,4.58), (44.41,23.24,44.67,23.5), (61.22,24.54,61.48,24.8), (61.22,25.06,61.48,25.32), (5.2,27.02,5.46,27.28)])
R(reference, metal2, [(13.33,0,14.33,1.44), (52.94,0,53.4,1.44), (69.62,0,70.08,1.44), (13.33,0.94,14.33,21.14), (52.94,0.94,53.4,2.64), (69.62,0.94,70.08,2.64), (50.64,2.14,59.59,2.64), (64.74,2.14,65.54,2.64), (13.64,2.92,14.02,21.14), (34.68,2.92,35.06,21.14), (60.2,3.69,67.78,4.69), (62.62,9.05,63,20.81), (72.18,9.05,72.6,20.81), (5.14,20.14,5.52,27.34), (5.14,20.14,14.33,21.14), (13.33,20.14,35.06,21.14), (13.64,20.14,35.06,21.14), (44.24,23.1,44.84,23.64), (45.54,24.48,47.75,25.38), (61.12,24.48,61.58,25.38), (16.06,26.96,17.98,27.34), (63.63,27.83,71.59,28.33)])
A(reference, via2, 45.735, 24.54, 0.26, 0.26, 4, 2, 0.52, 0.52)
A(reference, via2, 16.12, 27.02, 0.26, 0.26, 3, 1, 0.77, 0)
R(reference, via2, [(65.01,2.26,65.27,2.52), (72.26,14.86,72.52,15.12), (22.85,20.25,23.11,20.51), (23.37,20.25,23.63,20.51), (22.85,20.77,23.11,21.03), (23.37,20.77,23.63,21.03), (44.41,23.24,44.67,23.5), (61.22,24.54,61.48,24.8), (61.22,25.06,61.48,25.32)])
A(reference, via3, 16.12, 27.02, 0.26, 0.26, 3, 1, 0.77, 0)
R(reference, via3, [(65.01,2.26,65.27,2.52), (22.85,20.25,23.11,20.51), (23.37,20.25,23.63,20.51), (22.85,20.77,23.11,21.03), (23.37,20.77,23.63,21.03)])
R(reference, via4, [(22.85,20.25,23.11,20.51), (23.37,20.25,23.63,20.51), (22.85,20.77,23.11,21.03), (23.37,20.77,23.63,21.03)])
R(reference, metal3, [(64.74,2.14,65.54,2.64), (44.24,14.74,72.6,15.24), (44.24,14.74,44.84,23.64), (22.54,20.14,23.94,21.14), (44.24,23.1,44.84,23.64), (45.54,24.48,47.75,25.38), (45.54,24.48,61.58,25.38), (61.12,24.48,61.58,25.38), (16.06,26.96,17.98,27.34)])
R(reference, metal4, [(64.74,2.14,65.54,2.64), (64.84,2.14,65.44,29.14), (16.06,15.04,17.98,26.96), (22.54,20.14,23.94,21.14), (16.06,26.96,17.98,27.34)])
R(reference, dualgate, [(75.78,-0.25,87.87,11.76)])
P(reference, dualgate, [(-2.44,2.44),(-2.44,28.72),(46.26,28.72),(46.26,18.17),(57.78,18.17),(57.78,33.07),(72.56,33.07),(72.56,2.88),(46.26,2.88),(46.26,2.44)])
R(reference, metal5, [(22.54,13.44,23.94,21.14), (22.54,20.14,23.94,21.14)])
reference.add(gdstk.Reference(pfet, (3.26,2.8)))
reference.add(gdstk.Reference(nfet_3, (55.56,2.87)))
reference.add(gdstk.Reference(nfet, (63.02,2.87)))
reference.add(gdstk.Reference(pfet_1, (63.04,17.59)))
r = gdstk.Reference(c_ppolyf_u_high_rs_resisto, (5.79,26.65)); r.repetition = gdstk.Repetition(1, 1, v1=(0,0), v2=(0,0)); reference.add(r)
r = gdstk.Reference(c_ppolyf_u_high_rs_resisto_, (42.25,27.65), rotation=pi); r.repetition = gdstk.Repetition(1, 1, v1=(0,0), v2=(0,0)); reference.add(r)
r = gdstk.Reference(pfet_2, (89.19,1.19)); r.repetition = gdstk.Repetition(1, 1, v1=(0,0), v2=(0,0)); reference.add(r)
reference.add(gdstk.Reference(cap_mim, (12.94,3.44)))

currentmirror = lib.new_cell('CurrentMirror')
R(currentmirror, comp, [(0.42,1.08,10.4,11.08)])
R(currentmirror, poly2, [(1.15,0.42,5.15,11.38), (5.67,0.42,9.67,11.38)])
R(currentmirror, pplus, [(-1.06,0.91,-0.08,11.25)])
R(currentmirror, nplus, [(0.25,0.84,10.57,11.32)])
A(currentmirror, contact, 1.51, 0.49, 0.22, 0.22, 5, 1, 0.51, 0)
A(currentmirror, contact, 6.03, 0.49, 0.22, 0.22, 5, 1, 0.51, 0)
A(currentmirror, contact, -0.69, 1.38, 0.22, 0.22, 1, 19, 0, 0.51)
A(currentmirror, contact, 0.78, 1.38, 0.22, 0.22, 3, 19, 4.52, 0.51)
R(currentmirror, contact, [(3.55,0.49,3.77,0.71), (4.06,0.49,4.28,0.71), (4.06,0.49,4.28,0.71), (4.57,0.49,4.79,0.71), (4.57,0.49,4.79,0.71), (8.07,0.49,8.29,0.71), (8.58,0.49,8.8,0.71), (8.58,0.49,8.8,0.71), (9.09,0.49,9.31,0.71), (9.09,0.49,9.31,0.71)])
A(currentmirror, metal1, 0.7, 1.3, 0.38, 9.56, 3, 1, 4.52, 0)
R(currentmirror, metal1, [(0.7,-0.25,9.39,0.79), (0.7,-0.25,1.08,1.3), (1.43,0.41,4.87,0.79), (4.87,0.41,5.95,0.79), (5.95,0.41,9.39,0.79), (-0.77,1.3,-0.39,10.86), (9.74,1.3,12.31,2.47), (13.07,1.3,17.53,1.68), (13.45,1.3,13.8,1.68), (12.31,2.09,12.88,2.47), (-0.77,10.86,-0.39,11.76), (5.22,10.86,5.6,11.76), (-0.77,11.38,5.6,11.76)])
R(currentmirror, dualgate, [(-1.06,-0.25,11.03,11.76)])
r = gdstk.Reference(pfet_2, (12.35,1.19)); r.repetition = gdstk.Repetition(1, 1, v1=(0,0), v2=(0,0)); currentmirror.add(r)

top = lib.new_cell('TOP')
R(top, metal1, [(8.54,-13.05,9.22,1.7), (23.76,-13.05,29.63,-12.37), (28.95,-13.05,29.63,8.08), (-5.9,0.7,-4.9,5.21), (-8.06,4.21,-4.9,5.21), (28.95,7.08,31.31,8.08), (-81.12,21.97,-71.12,56.7), (-11.06,21.97,-8.06,36.42), (-69.12,26.57,-59.12,56.7), (-59.12,26.57,-40.64,30.57), (28.35,26.57,31.35,36.02), (-23.28,30.97,-22.28,34.28), (-51.43,32.53,-46.81,32.91), (-42.67,34.07,-41.56,35.52), (-42.67,35.52,-35.71,45.08)])
A(top, via1, -80.69, 22.23, 0.26, 0.26, 15, 6, 0.64, 0.64)
A(top, via1, 28.8, 26.84, 0.26, 0.26, 4, 5, 0.64, 0.64)
A(top, via1, 29.44, 30.04, 0.26, 0.26, 3, 1, 0.64, 0)
R(top, via1, [(28.78,30.04,29.04,30.3), (-23.15,31.03,-22.89,31.29), (-23.15,31.03,-22.89,31.29), (-22.67,31.03,-22.41,31.29), (-22.67,31.03,-22.41,31.29), (-47.13,32.59,-46.87,32.85), (-23.15,33.96,-22.89,34.22), (-22.67,33.96,-22.41,34.22), (-48.21,34.13,-47.95,34.39), (-48.21,34.92,-47.95,35.18)])
R(top, metal2, [(-7.06,-14.59,-5.32,-14.21), (38.3,-14.59,45.77,-14.21), (45.39,-14.59,45.77,31.35), (-7.06,-13.81,-5.32,-13.43), (-81.12,21.97,-40.64,25.97), (-7.06,21.97,-5.32,25.97), (-7.06,26.57,-5.32,30.57), (-44.15,30.97,-38,31.35), (-7.06,30.97,-5.32,31.35), (38.3,30.97,45.77,31.35), (-48.27,31.75,-47.89,35.24), (-48.27,31.75,-38,32.13), (-7.06,31.75,-5.32,32.13), (-47.19,32.53,-36.23,32.91), (-36.61,32.53,16.79,32.91), (16.33,32.53,16.79,34.62), (-23.28,33.91,-22.28,36.06), (33.01,34.16,40.25,34.62)])
r = gdstk.Reference(inputbuffer, (45.26,-0.06)); r.repetition = gdstk.Repetition(1, 1, v1=(0,0), v2=(0,0)); top.add(r)
r = gdstk.Reference(gainstage, (0.96,-0.06)); r.repetition = gdstk.Repetition(1, 1, v1=(0,0), v2=(0,0)); top.add(r)
r = gdstk.Reference(gainstage, (15.5,-0.06)); r.repetition = gdstk.Repetition(1, 1, v1=(0,0), v2=(0,0)); top.add(r)
r = gdstk.Reference(outputbuffer, (-23,-10.81)); r.repetition = gdstk.Repetition(1, 1, v1=(0,0), v2=(0,0)); top.add(r)
r = gdstk.Reference(reference, (-36.61,34.62)); r.repetition = gdstk.Repetition(1, 1, v1=(0,0), v2=(0,0)); top.add(r)
r = gdstk.Reference(currentmirror, (-59.09,32.77)); r.repetition = gdstk.Repetition(1, 1, v1=(0,0), v2=(0,0)); top.add(r)
top.add(gdstk.Label('iDAC', (-54.42,32.93), layer=34, texttype=10))
top.add(gdstk.Label('Tbias', (-22.99,33.3), layer=34, texttype=10))
top.add(gdstk.Label('Div', (-11.61,63.52), layer=34, texttype=10))
top.add(gdstk.Label('GND', (-66.04,53.63), layer=34, texttype=10))
top.add(gdstk.Label('Input', (48.53,-12.28), layer=34, texttype=10))
top.add(gdstk.Label('Output', (-38.65,-12.26), layer=34, texttype=10))
top.add(gdstk.Label('VDD', (-75.85,53.57), layer=34, texttype=10))
top.add(gdstk.Label('BandGap', (39.28,34.43), layer=36, texttype=10))
top.add(gdstk.Label('vDAC', (-35.42,-13.64), layer=36, texttype=10))

lib.write_gds('TOP.gds')
